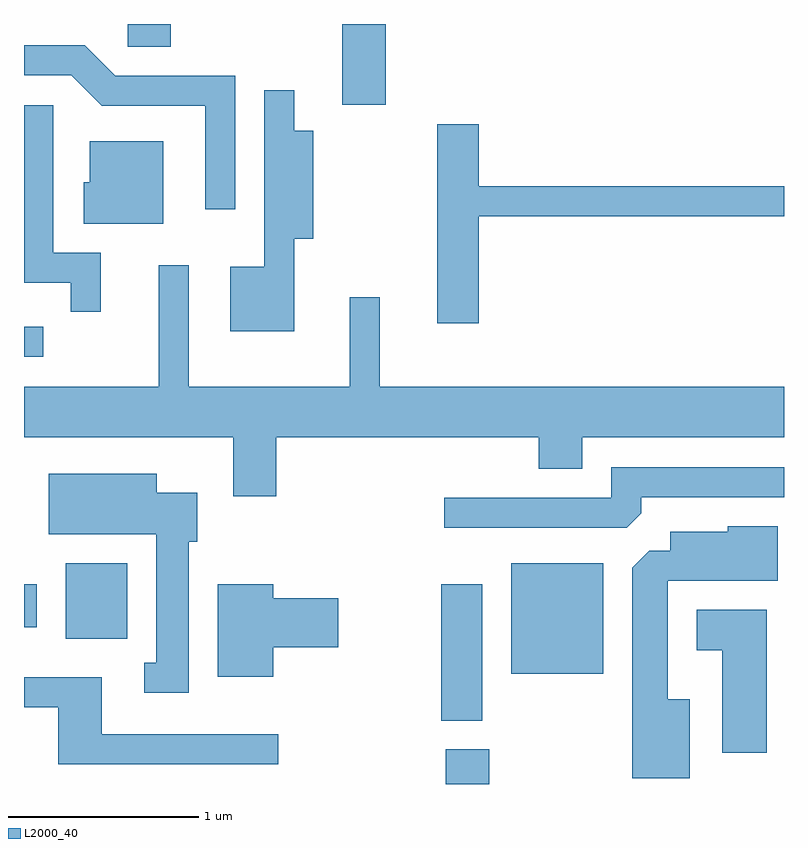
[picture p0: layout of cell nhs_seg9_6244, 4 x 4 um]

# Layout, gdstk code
import gdstk
lib = gdstk.Library(unit=1e-6, precision=1e-09)
def R(c, l, rs):  # rectangles x0, y0, x1, y1
    for r in rs: c.add(gdstk.rectangle(r[:2], r[2:], *l))
def P(c, l, *ps):  # polygons
    for p in ps: c.add(gdstk.Polygon(p, *l))
L2000_40 = (2000, 40)

nhs_seg9_6244 = lib.new_cell('nhs_seg9_6244')
R(nhs_seg9_6244, L2000_40, [(371.831,1994.432,372.059,1994.614), (371.806,1994.766,372.024,1995.484), (372.176,1995.011,372.659,1995.594), (369.831,1995.196,370.154,1995.594), (369.611,1995.256,369.679,1995.484), (369.611,1996.681,369.713,1996.839), (371.286,1998.006,371.514,1998.432), (370.156,1998.311,370.384,1998.432)])
P(nhs_seg9_6244, L2000_40, [(370.724,1998.159),(370.092,1998.159),(369.932,1998.319),(369.611,1998.319),(369.611,1998.161),(369.859,1998.161),(370.019,1998.001),(370.566,1998.001),(370.566,1997.458),(370.724,1997.458)],
  [(371.034,1997.301),(371.134,1997.301),(371.134,1997.869),(371.034,1997.869),(371.034,1998.083),(370.876,1998.083),(370.876,1997.154),(370.696,1997.154),(370.696,1996.816),(371.034,1996.816)],
  [(370.014,1997.229),(369.764,1997.229),(369.764,1998.004),(369.611,1998.004),(369.611,1997.071),(369.856,1997.071),(369.856,1996.918),(370.014,1996.918)],
  [(372.004,1997.421),(373.611,1997.421),(373.611,1997.579),(372.004,1997.579),(372.004,1997.904),(371.786,1997.904),(371.786,1996.856),(372.004,1996.856)],
  [(370.344,1997.814),(369.956,1997.814),(369.956,1997.599),(369.926,1997.599),(369.926,1997.381),(370.344,1997.381)],
  [(370.939,1996.256),(372.321,1996.256),(372.321,1996.091),(372.549,1996.091),(372.549,1996.256),(373.611,1996.256),(373.611,1996.524),(371.484,1996.524),(371.484,1996.993),(371.326,1996.993),(371.326,1996.524),(370.479,1996.524),(370.479,1997.163),(370.321,1997.163),(370.321,1996.524),(369.611,1996.524),(369.611,1996.256),(370.711,1996.256),(370.711,1995.946),(370.939,1995.946)],
  [(372.859,1995.857),(372.859,1995.941),(373.611,1995.941),(373.611,1996.099),(372.701,1996.099),(372.701,1995.939),(371.823,1995.939),(371.823,1995.781),(372.784,1995.781)],
  [(370.479,1995.706),(370.524,1995.706),(370.524,1995.964),(370.309,1995.964),(370.309,1996.064),(369.741,1996.064),(369.741,1995.746),(370.306,1995.746),(370.306,1995.069),(370.243,1995.069),(370.243,1994.911),(370.479,1994.911)],
  [(373.114,1994.879),(372.999,1994.879),(372.999,1995.501),(373.579,1995.501),(373.579,1995.789),(373.316,1995.789),(373.316,1995.759),(373.011,1995.759),(373.011,1995.659),(372.902,1995.659),(372.811,1995.569),(372.811,1994.461),(373.114,1994.461)],
  [(370.924,1995.151),(371.264,1995.151),(371.264,1995.409),(370.924,1995.409),(370.924,1995.484),(370.631,1995.484),(370.631,1994.996),(370.924,1994.996)],
  [(373.519,1995.349),(373.151,1995.349),(373.151,1995.136),(373.286,1995.136),(373.286,1994.596),(373.519,1994.596)],
  [(370.948,1994.694),(370.019,1994.694),(370.019,1994.994),(369.611,1994.994),(369.611,1994.836),(369.791,1994.836),(369.791,1994.536),(370.948,1994.536)])

lib.write_gds('nhs_seg9_6244.gds')
